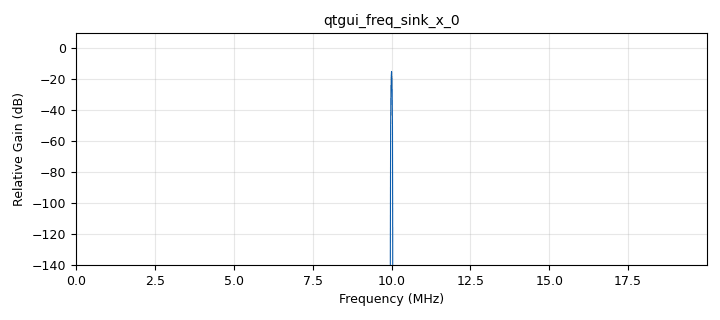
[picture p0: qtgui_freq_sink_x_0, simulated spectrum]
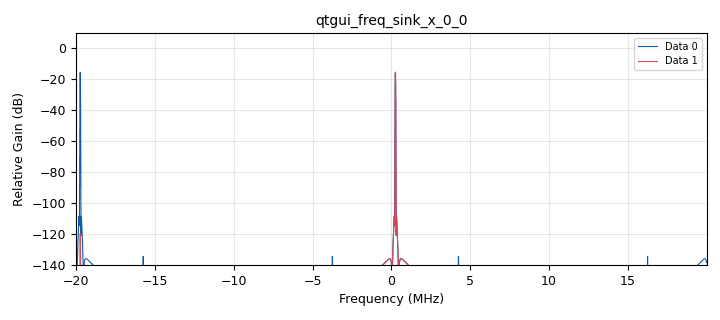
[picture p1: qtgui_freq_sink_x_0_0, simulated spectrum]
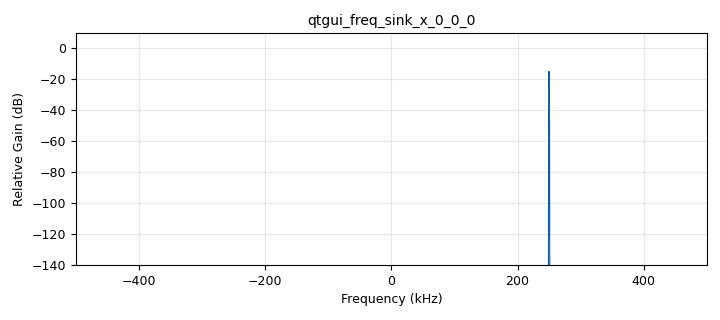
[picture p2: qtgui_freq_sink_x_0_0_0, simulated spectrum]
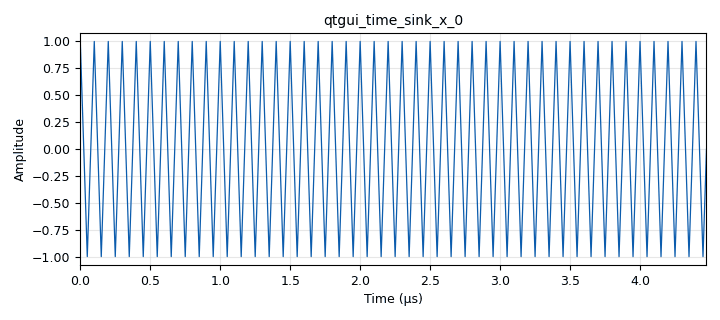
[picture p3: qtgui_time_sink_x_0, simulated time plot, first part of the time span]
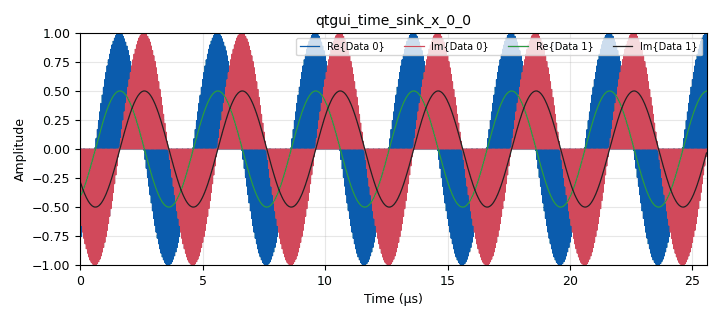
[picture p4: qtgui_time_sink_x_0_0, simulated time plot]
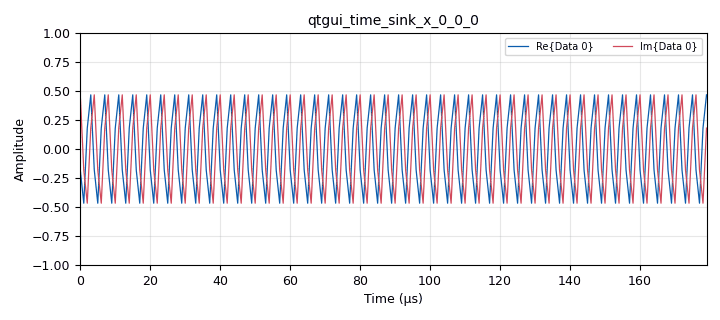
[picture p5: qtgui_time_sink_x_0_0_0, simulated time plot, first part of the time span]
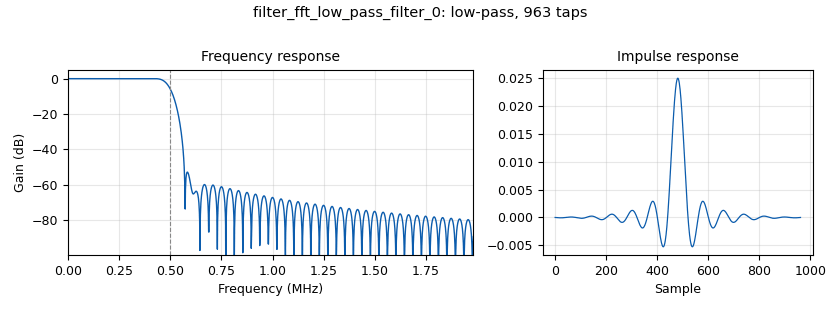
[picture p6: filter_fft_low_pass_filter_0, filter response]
options:
  parameters:
    generate_options: qt_gui
    id: iq_sampling
    output_language: python
    title: IQ sampling demo
  states: {}

blocks:
- name: adc_rate
  id: variable
  parameters:
    value: samp_rate / decimation
  states: {}
- name: decimation
  id: variable
  parameters:
    value: '40'
  states: {}
- name: lo_frequency
  id: variable_qtgui_entry
  parameters:
    label: LO frequency (MHz)
    type: real
    value: '-9.75'
  states: {}
- name: samp_rate
  id: variable
  parameters:
    value: '40_000_000'
  states: {}
- name: tone_frequency
  id: variable_qtgui_entry
  parameters:
    label: Tone frequency (MHz)
    type: real
    value: '10'
  states: {}
- name: analog_sig_source_x_0
  id: analog_sig_source_x
  parameters:
    amp: '1'
    freq: tone_frequency * 1e6
    offset: '0'
    phase: '0'
    samp_rate: samp_rate
    type: float
    waveform: analog.GR_COS_WAVE
  states: {}
- name: analog_sig_source_x_0_0
  id: analog_sig_source_x
  parameters:
    amp: '1'
    freq: lo_frequency * 1e6
    offset: '0'
    phase: '0'
    samp_rate: samp_rate
    type: complex
    waveform: analog.GR_COS_WAVE
  states: {}
- name: blocks_complex_to_float_0
  id: blocks_complex_to_float
  parameters: {}
  states: {}
- name: blocks_float_to_complex_0
  id: blocks_float_to_complex
  parameters: {}
  states: {}
- name: blocks_keep_one_in_n_0
  id: blocks_keep_one_in_n
  parameters:
    n: decimation
    type: complex
  states: {}
- name: blocks_multiply_xx_0
  id: blocks_multiply_xx
  parameters:
    type: float
  states: {}
- name: blocks_multiply_xx_0_0
  id: blocks_multiply_xx
  parameters:
    type: float
  states: {}
- name: blocks_throttle2_0
  id: blocks_throttle2
  parameters:
    samples_per_second: samp_rate
    type: float
  states: {}
- name: filter_fft_low_pass_filter_0
  id: filter_fft_low_pass_filter
  parameters:
    cutoff_freq: 500e3
    decim: '1'
    gain: '1'
    samp_rate: samp_rate
    type: ccf
    width: 100e3
    win: window.WIN_HAMMING
  states: {}
- name: qtgui_freq_sink_x_0
  id: qtgui_freq_sink_x
  parameters:
    bw: samp_rate
    fc: '0'
    fftsize: '4096'
    freqhalf: 'False'
    gui_hint: tabs@0
    type: float
  states: {}
- name: qtgui_freq_sink_x_0_0
  id: qtgui_freq_sink_x
  parameters:
    bw: samp_rate
    fc: '0'
    fftsize: '4096'
    freqhalf: 'False'
    gui_hint: tabs@1
    nconnections: '2'
    type: complex
  states: {}
- name: qtgui_freq_sink_x_0_0_0
  id: qtgui_freq_sink_x
  parameters:
    bw: adc_rate
    fc: '0'
    fftsize: '4096'
    freqhalf: 'False'
    gui_hint: tabs@2
    type: complex
  states: {}
- name: qtgui_time_sink_x_0
  id: qtgui_time_sink_x
  parameters:
    gui_hint: tabs@0
    size: '1024'
    srate: samp_rate
    type: float
  states: {}
- name: qtgui_time_sink_x_0_0
  id: qtgui_time_sink_x
  parameters:
    gui_hint: tabs@1
    nconnections: '2'
    size: '1024'
    srate: samp_rate
    type: complex
  states: {}
- name: qtgui_time_sink_x_0_0_0
  id: qtgui_time_sink_x
  parameters:
    gui_hint: tabs@2
    size: '1024'
    srate: adc_rate
    type: complex
  states: {}
- name: tabs
  id: qtgui_tab_widget
  parameters:
    label0: Input
    label1: Mixer output
    label2: ADC output
    num_tabs: '3'
  states: {}

connections:
- [analog_sig_source_x_0, '0', blocks_throttle2_0, '0']
- [analog_sig_source_x_0_0, '0', blocks_complex_to_float_0, '0']
- [blocks_complex_to_float_0, '0', blocks_multiply_xx_0, '1']
- [blocks_complex_to_float_0, '1', blocks_multiply_xx_0_0, '1']
- [blocks_float_to_complex_0, '0', filter_fft_low_pass_filter_0, '0']
- [blocks_float_to_complex_0, '0', qtgui_freq_sink_x_0_0, '0']
- [blocks_float_to_complex_0, '0', qtgui_time_sink_x_0_0, '0']
- [blocks_keep_one_in_n_0, '0', qtgui_freq_sink_x_0_0_0, '0']
- [blocks_keep_one_in_n_0, '0', qtgui_time_sink_x_0_0_0, '0']
- [blocks_multiply_xx_0, '0', blocks_float_to_complex_0, '0']
- [blocks_multiply_xx_0_0, '0', blocks_float_to_complex_0, '1']
- [blocks_throttle2_0, '0', blocks_multiply_xx_0, '0']
- [blocks_throttle2_0, '0', blocks_multiply_xx_0_0, '0']
- [blocks_throttle2_0, '0', qtgui_freq_sink_x_0, '0']
- [blocks_throttle2_0, '0', qtgui_time_sink_x_0, '0']
- [filter_fft_low_pass_filter_0, '0', blocks_keep_one_in_n_0, '0']
- [filter_fft_low_pass_filter_0, '0', qtgui_freq_sink_x_0_0, '1']
- [filter_fft_low_pass_filter_0, '0', qtgui_time_sink_x_0_0, '1']

metadata:
  file_format: 1
  grc_version: 3.10.10.0
